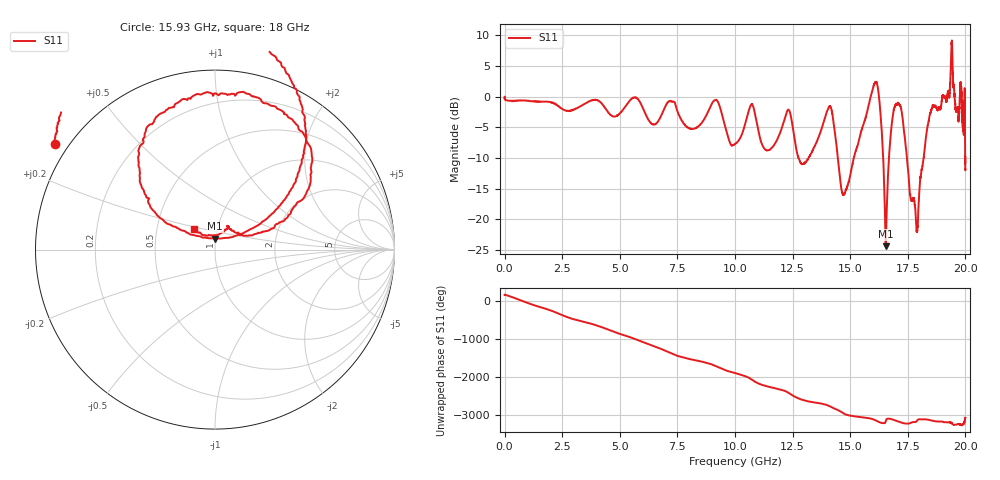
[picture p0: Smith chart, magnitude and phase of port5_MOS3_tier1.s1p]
! Created with skrf 1.8.0 (http://scikit-rf.org).
# GHz S RI R 50.0
!freq ReS11 ImS11
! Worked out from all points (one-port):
!   10001 points, 1 MHz to 20 GHz, reference 50 ohm
!   lowest |S11| = -24.3 dB at 16.54 GHz (marker M1), VSWR 1.13, Z = 49.7 + j6.05 ohm
!   |S11| at or under -10 dB: 12.76 GHz to 13.19 GHz (437.6 MHz wide, 3.37 % of centre); 14.46 GHz to 15.15 GHz (689 MHz wide, 4.65 % of centre); 17.46 GHz to 18.19 GHz (724.6 MHz wide, 4.07 % of centre) (the widest 3 of 6)
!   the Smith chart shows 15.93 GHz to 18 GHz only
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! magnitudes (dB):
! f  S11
! 1 MHz  -0.2
! 2.501 GHz  -2.0
! 5.001 GHz  -2.8
! 7.501 GHz  -2.4
! 8.217 GHz  -5.2
! 9.187 GHz  -0.5
! 10 GHz  -7.7
! 10.71 GHz  -1.2
! 11.35 GHz  -8.7
! 12.29 GHz  -2.2
! 12.5 GHz  -4.9
! 12.99 GHz  -11.0
! 14.12 GHz  -1.6
! 14.66 GHz  -15.7
! 15 GHz  -12.9
! 16.11 GHz  2.4
! 16.3 GHz  -2.3
! 16.54 GHz  -24.3
! 16.79 GHz  -4.8
! 16.98 GHz  -1.2
! 17.22 GHz  -2.1
! 17.5 GHz  -11.7
! 17.9 GHz  -21.9
! 18.44 GHz  -3.2
! 19.41 GHz  9.1
! 19.63 GHz  -2.1
! 19.87 GHz  -3.0
! 20 GHz  -11.9
